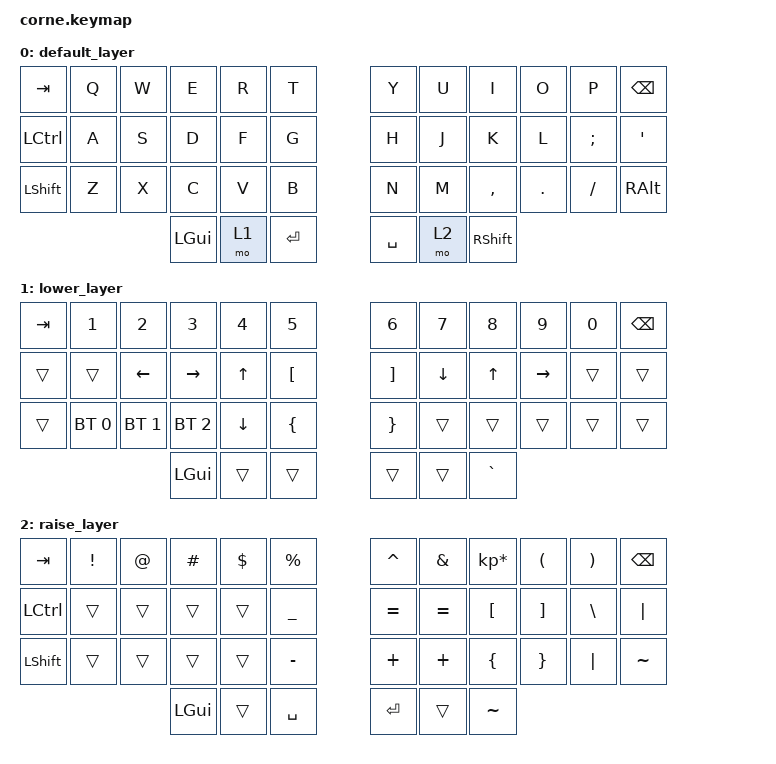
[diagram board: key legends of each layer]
/*
 * Copyright (c) 2020 The ZMK Contributors
 *
 * SPDX-License-Identifier: MIT
 */

#include <behaviors.dtsi>
#include <dt-bindings/zmk/keys.h>
#include <dt-bindings/zmk/bt.h>

/ {
    combos {
        compatible = "zmk,combos";
        combo_esc {
            timeout-ms = <50>;
            key-positions = < 19 20 >;
            layers = <0>;
            bindings = <&kp ESC>;
        };
        combo_tab {
            timeout-ms = <50>;
            key-positions = < 15 16 >;
            layers = <0>;
            bindings = <&kp TAB>;
        };
        combo_btclr {
            timeout-ms = <50>;
            key-positions = < 12 13 >; // middle row, left 2
            layers = <1>;
            bindings = <&bt BT_CLR>;
        };
        combo_suspendleft {
            timeout-ms = <50>;
            key-positions = < 0 12 >; // top left and one below it
            layers = <1 2>;
            bindings = <&suspend>;
        };
        combo_suspendright {
            timeout-ms = <50>;
            key-positions = < 11 23 >; // top right and one below it
            layers = <1 2>;
            bindings = <&suspend>;
        };
    };
        keymap {
                compatible = "zmk,keymap";

                default_layer {
// -----------------------------------------------------------------------------------------
// |  TAB |  Q  |  W  |  E  |  R  |  T  |   |  Y  |  U   |  I  |  O  |  P  | BKSP |
// | CTRL |  A  |  S  |  D  |  F  |  G  |   |  H  |  J   |  K  |  L  |  ;  |  '   |
// | SHFT |  Z  |  X  |  C  |  V  |  B  |   |  N  |  M   |  ,  |  .  |  /  | RALT  |
//                    | GUI | LWR | ENT |   | SPC | RSE  | ESC |
                        bindings = <
   &kp TAB   &kp Q &kp W &kp E &kp R &kp T   &kp Y &kp U  &kp I     &kp O   &kp P    &kp BSPC
   &kp LCTRL &kp A &kp S &kp D &kp F &kp G   &kp H &kp J  &kp K     &kp L   &kp SEMI &kp SQT
   &kp LSHFT &kp Z &kp X &kp C &kp V &kp B   &kp N &kp M  &kp COMMA &kp DOT &kp FSLH &kp RALT
                  &kp LGUI &mo 1 &kp RET     &kp SPC &mo 2 &kp RSHFT
                        >;
                };
                lower_layer {
// -----------------------------------------------------------------------------------------
// |  TAB |  1  |  2  |  3  |  4  |  5  |   |  6  |  7  |  8  |  9  |  0  | BKSP |
// |      |     | LFT | RGT | UP  | [   |   |  ]  | DWN |  UP | RGT |     | \ |
// |      | BT1 | BT2 | BT3 | DWN |  {  |   |  }  |     |     |     |     |      |
//                    | GUI |     |     |   |     |     | GRAVE |
                        bindings = <
   &kp TAB    &kp N1       &kp N2       &kp N3       &kp N4       &kp N5         &kp N6   &kp N7   &kp N8 &kp N9    &kp N0 &kp BKSP
   &trans    &trans       &kp LEFT     &kp RIGHT    &kp UP       &kp LBKT       &kp RBKT &kp DOWN &kp UP &kp RIGHT &trans &trans
   &trans &bt BT_SEL 0 &bt BT_SEL 1 &bt BT_SEL 2 &kp DOWN     &kp LBRC       &kp RBRC   &trans   &trans &trans    &trans &trans
                          	        &kp LGUI     &trans       &trans             &trans   &trans   &kp GRAVE
                        >;
                };

                raise_layer {
// -----------------------------------------------------------------------------------------
// |  TAB |  !  |  @  |  #  |  $  |  %  |   |  ^  |  &  |  *  |  (  |  )  | BKSP |
// | CTRL |     |     |     |     |  _  |   |  =  |  =  |     |     |     |  |   |
// | SHFT |     |     |     |     |  -  |   |  +  |  +  |     |     |     |  ~   |
//                    | GUI |     | SPC |   | ENT |     | ~ |
                        bindings = <
   &kp  TAB  &kp EXCL &kp AT &kp HASH &kp DLLR &kp PRCNT   &kp CARET &kp AMPS  &kp KP_MULTIPLY &kp LPAR &kp RPAR &kp BSPC
   &kp LCTRL &trans   &trans &trans   &trans   &kp UNDERSCORE      &kp EQUAL &kp EQUAL &kp LBKT        &kp RBKT &kp BSLH &kp PIPE
   &kp LSHFT &trans   &trans &trans   &trans   &kp MINUS      &kp PLUS &kp PLUS  &kp LBRC        &kp RBRC &kp PIPE &kp TILDE
                    	     &kp LGUI &trans   &kp SPACE   &kp RET   &trans    &kp TILDE
                        >;
                };
        };
};
